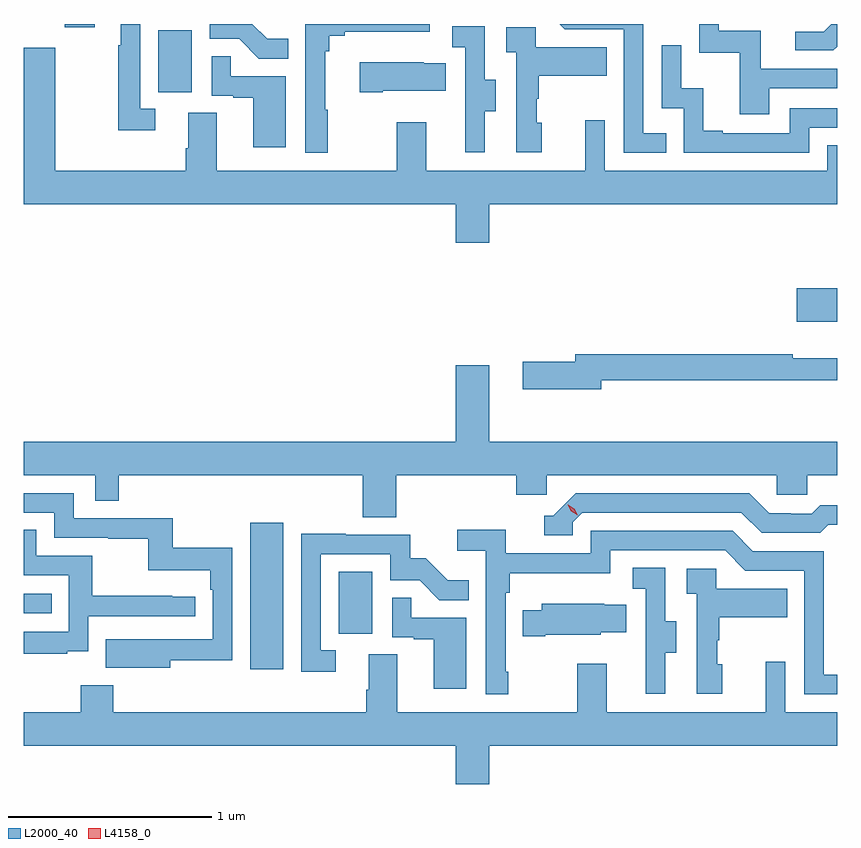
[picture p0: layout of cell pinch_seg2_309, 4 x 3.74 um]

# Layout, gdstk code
import gdstk
lib = gdstk.Library(unit=1e-6, precision=1e-09)
def R(c, l, rs):  # rectangles x0, y0, x1, y1
    for r in rs: c.add(gdstk.rectangle(r[:2], r[2:], *l))
def P(c, l, *ps):  # polygons
    for p in ps: c.add(gdstk.Polygon(p, *l))
L2000_40 = (2000, 40)
L4158_0 = (4158, 0)

pinch_seg2_309 = lib.new_cell('pinch_seg2_309')
R(pinch_seg2_309, L2000_40, [(907.253,638.688,907.414,639.409), (907.688,638.862,907.852,639.169), (906.139,638.964,906.275,639.06), (909.942,640.397,910.139,640.563), (906.8,641.526,906.964,641.833), (906.34,641.847,906.487,641.863)])
P(pinch_seg2_309, L2000_40, [(907.439,641.791),(907.335,641.791),(907.263,641.863),(907.053,641.863),(907.053,641.79),(907.197,641.79),(907.295,641.692),(907.439,641.692)],
  [(906.784,641.445),(906.711,641.445),(906.711,641.863),(906.615,641.863),(906.615,641.759),(906.603,641.759),(906.603,641.34),(906.784,641.34)],
  [(910.139,641.752),(910.139,641.863),(910.111,641.863),(910.074,641.826),(909.933,641.826),(909.933,641.733),(910.12,641.733)],
  [(909.805,641.547),(910.139,641.547),(910.139,641.643),(909.763,641.643),(909.763,641.829),(909.558,641.829),(909.558,641.863),(909.462,641.863),(909.462,641.721),(909.661,641.721),(909.661,641.418),(909.805,641.418)],
  [(909.299,641.325),(909.186,641.325),(909.186,641.863),(908.774,641.863),(908.799,641.838),(909.09,641.838),(909.09,641.229),(909.299,641.229)],
  [(907.633,641.441),(907.621,641.441),(907.621,641.729),(907.64,641.729),(907.64,641.806),(907.717,641.806),(907.717,641.825),(908.136,641.825),(908.136,641.863),(907.524,641.863),(907.524,641.229),(907.633,641.229)],
  [(908.407,641.434),(908.461,641.434),(908.461,641.589),(908.406,641.589),(908.406,641.852),(908.247,641.852),(908.247,641.749),(908.31,641.749),(908.31,641.445),(908.309,641.445),(908.309,641.232),(908.407,641.232)],
  [(908.686,641.376),(908.661,641.376),(908.661,641.495),(908.671,641.495),(908.671,641.609),(909.005,641.609),(909.005,641.749),(908.658,641.749),(908.658,641.847),(908.511,641.847),(908.511,641.723),(908.562,641.723),(908.562,641.232),(908.686,641.232)],
  [(910.002,641.352),(910.139,641.352),(910.139,641.448),(909.906,641.448),(909.906,641.325),(909.577,641.325),(909.577,641.338),(909.482,641.338),(909.482,641.546),(909.372,641.546),(909.372,641.758),(909.276,641.758),(909.276,641.448),(909.384,641.448),(909.384,641.229),(910.002,641.229)],
  [(906.139,641.746),(906.139,640.976),(908.264,640.976),(908.264,640.788),(908.428,640.788),(908.428,640.976),(910.139,640.976),(910.139,641.267),(910.092,641.267),(910.092,641.14),(908.997,641.14),(908.997,641.389),(908.9,641.389),(908.9,641.14),(908.119,641.14),(908.119,641.38),(907.972,641.38),(907.972,641.14),(907.087,641.14),(907.087,641.426),(906.947,641.426),(906.947,641.252),(906.935,641.252),(906.935,641.14),(906.292,641.14),(906.292,641.746)],
  [(907.426,641.607),(907.157,641.607),(907.157,641.705),(907.062,641.705),(907.062,641.511),(907.169,641.511),(907.169,641.499),(907.268,641.499),(907.268,641.256),(907.426,641.256)],
  [(907.903,641.534),(908.213,641.534),(908.213,641.671),(908.105,641.671),(908.105,641.674),(907.791,641.674),(907.791,641.527),(907.903,641.527)],
  [(908.98,640.11),(910.139,640.11),(910.139,640.219),(909.921,640.219),(909.921,640.238),(908.852,640.238),(908.852,640.202),(908.592,640.202),(908.592,640.067),(908.98,640.067)],
  [(907.97,639.644),(908.561,639.644),(908.561,639.546),(908.712,639.546),(908.712,639.644),(909.843,639.644),(909.843,639.546),(909.993,639.546),(909.993,639.644),(910.139,639.644),(910.139,639.808),(908.428,639.808),(908.428,640.183),(908.264,640.183),(908.264,639.808),(906.139,639.808),(906.139,639.644),(906.489,639.644),(906.489,639.517),(906.605,639.517),(906.605,639.644),(907.805,639.644),(907.805,639.436),(907.97,639.436)],
  [(906.859,638.734),(907.164,638.734),(907.164,639.286),(906.871,639.286),(906.871,639.432),(906.384,639.432),(906.384,639.555),(906.139,639.555),(906.139,639.459),(906.288,639.459),(906.288,639.336),(906.553,639.336),(906.553,639.331),(906.75,639.331),(906.75,639.176),(907.055,639.176),(907.055,639.08),(907.068,639.08),(907.068,638.835),(906.755,638.835),(906.755,638.836),(906.541,638.836),(906.541,638.696),(906.859,638.696)],
  [(908.838,639.411),(908.886,639.459),(909.669,639.459),(909.768,639.36),(910.057,639.36),(910.096,639.399),(910.139,639.399),(910.139,639.496),(910.057,639.496),(910.015,639.453),(909.912,639.453),(909.912,639.456),(909.805,639.456),(909.706,639.555),(908.853,639.555),(908.742,639.444),(908.699,639.444),(908.699,639.348),(908.838,639.348)],
  [(906.353,638.777),(906.456,638.777),(906.456,638.949),(906.982,638.949),(906.982,639.045),(906.869,639.045),(906.869,639.05),(906.476,639.05),(906.476,639.246),(906.199,639.246),(906.199,639.374),(906.139,639.374),(906.139,639.15),(906.36,639.15),(906.36,638.874),(906.139,638.874),(906.139,638.766),(906.353,638.766)],
  [(908.521,638.677),(908.508,638.677),(908.508,639.065),(908.528,639.065),(908.528,639.161),(909.024,639.161),(909.024,639.273),(909.588,639.273),(909.687,639.174),(909.978,639.174),(909.978,638.565),(910.139,638.565),(910.139,638.661),(910.074,638.661),(910.074,639.27),(909.724,639.27),(909.625,639.369),(908.928,639.369),(908.928,639.258),(908.51,639.258),(908.51,639.374),(908.271,639.374),(908.271,639.272),(908.412,639.272),(908.412,638.565),(908.521,638.565)],
  [(907.672,638.781),(907.599,638.781),(907.599,639.255),(907.941,639.255),(907.941,639.126),(908.085,639.126),(908.183,639.028),(908.327,639.028),(908.327,639.127),(908.223,639.127),(908.116,639.234),(908.04,639.234),(908.04,639.351),(907.721,639.351),(907.721,639.356),(907.503,639.356),(907.503,638.676),(907.672,638.676)],
  [(909.295,638.77),(909.349,638.77),(909.349,638.925),(909.294,638.925),(909.294,639.188),(909.135,639.188),(909.135,639.085),(909.198,639.085),(909.198,638.781),(909.197,638.781),(909.197,638.568),(909.295,638.568)],
  [(909.574,638.712),(909.549,638.712),(909.549,638.831),(909.559,638.831),(909.559,638.945),(909.893,638.945),(909.893,639.085),(909.546,639.085),(909.546,639.183),(909.399,639.183),(909.399,639.059),(909.45,639.059),(909.45,638.568),(909.574,638.568)],
  [(908.314,638.943),(908.045,638.943),(908.045,639.041),(907.95,639.041),(907.95,638.847),(908.057,638.847),(908.057,638.835),(908.156,638.835),(908.156,638.592),(908.314,638.592)],
  [(908.704,638.858),(908.976,638.858),(908.976,638.87),(909.101,638.87),(909.101,639.007),(908.993,639.007),(908.993,639.01),(908.687,639.01),(908.687,638.98),(908.593,638.98),(908.593,638.851),(908.704,638.851)],
  [(908.428,638.312),(910.139,638.312),(910.139,638.476),(909.885,638.476),(909.885,638.725),(909.788,638.725),(909.788,638.476),(909.007,638.476),(909.007,638.716),(908.86,638.716),(908.86,638.476),(907.975,638.476),(907.975,638.762),(907.835,638.762),(907.835,638.588),(907.823,638.588),(907.823,638.476),(906.578,638.476),(906.578,638.611),(906.418,638.611),(906.418,638.476),(906.139,638.476),(906.139,638.312),(908.264,638.312),(908.264,638.124),(908.428,638.124)])
P(pinch_seg2_309, L4158_0, [(908.863,639.446),(908.832,639.465),(908.815,639.498),(908.815,639.498),(908.816,639.498),(908.847,639.479),(908.864,639.446),(908.864,639.446)])

lib.write_gds('pinch_seg2_309.gds')
